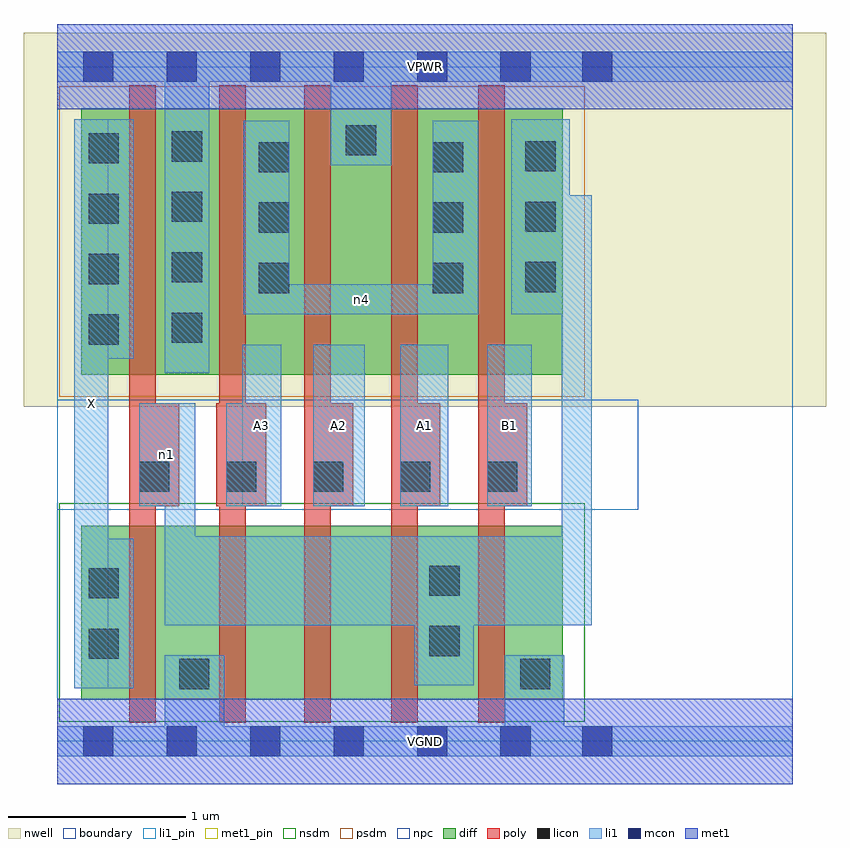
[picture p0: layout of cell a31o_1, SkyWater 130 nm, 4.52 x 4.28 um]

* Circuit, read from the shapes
.subckt a31o_1 A1 A2 A3 B1 VGND VPWR X n1 n4
XM1 VGND n1 X VSUBS sky130_fd_pr__nfet_01v8 w=0.98 l=0.15
XM2 n2 A3 VGND VSUBS sky130_fd_pr__nfet_01v8 w=0.98 l=0.15
XM3 n3 A2 n2 VSUBS sky130_fd_pr__nfet_01v8 w=0.98 l=0.15
XM4 n1 A1 n3 VSUBS sky130_fd_pr__nfet_01v8 w=0.98 l=0.15
XM5 VGND B1 n1 VSUBS sky130_fd_pr__nfet_01v8 w=0.98 l=0.15
XM6 VPWR n1 X n5 sky130_fd_pr__pfet_01v8 w=1.5 l=0.15
XM7 n4 A3 VPWR n5 sky130_fd_pr__pfet_01v8 w=1.5 l=0.15
XM8 VPWR A2 n4 n5 sky130_fd_pr__pfet_01v8 w=1.5 l=0.15
XM9 n4 A1 VPWR n5 sky130_fd_pr__pfet_01v8 w=1.5 l=0.15
XM10 n1 B1 n4 n5 sky130_fd_pr__pfet_01v8 w=1.5 l=0.15
.ends

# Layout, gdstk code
import gdstk
lib = gdstk.Library(unit=1e-6, precision=1e-09)
def R(c, l, rs):  # rectangles x0, y0, x1, y1
    for r in rs: c.add(gdstk.rectangle(r[:2], r[2:], *l))
def A(c, l, x, y, w, h, nx, ny, dx, dy):  # array of equal rectangles
    R(c, l, [(x+i*dx, y+j*dy, x+i*dx+w, y+j*dy+h) for i in range(nx) for j in range(ny)])
nwell = (64, 20)
diff = (65, 20)
poly = (66, 20)
licon = (66, 44)
li1_pin = (67, 16)
li1 = (67, 20)
mcon = (67, 44)
met1_pin = (68, 16)
met1 = (68, 20)
nsdm = (93, 44)
psdm = (94, 20)
npc = (95, 20)
boundary = (235, 4)

a31o_1 = lib.new_cell('a31o_1')
R(a31o_1, nwell, [(-0.19,1.885,4.33,3.99), (0,1.885,4.14,3.99)])
R(a31o_1, diff, [(0.135,0.235,2.845,1.215), (0.135,2.065,2.845,3.565)])
A(a31o_1, poly, 1.39, 0.105, 0.15, 3.59, 3, 1, 0.49, 0)
A(a31o_1, poly, 1.39, 1.325, 0.275, 0.58, 3, 1, 0.49, 0)
R(a31o_1, poly, [(0.405,0.105,0.555,3.695), (0.91,0.105,1.06,3.695), (0.405,1.325,0.685,1.905), (0.895,1.325,1.175,1.905)])
A(a31o_1, licon, 0.46, 1.405, 0.17, 0.17, 5, 1, 0.49, 0)
A(a31o_1, licon, 0.175, 2.235, 0.17, 0.17, 1, 4, 0, 0.34)
A(a31o_1, licon, 0.645, 2.245, 0.17, 0.17, 1, 4, 0, 0.34)
A(a31o_1, licon, 1.135, 2.525, 0.17, 0.17, 1, 3, 0, 0.34)
A(a31o_1, licon, 2.115, 2.525, 0.17, 0.17, 1, 3, 0, 0.34)
A(a31o_1, licon, 2.635, 2.53, 0.17, 0.17, 1, 3, 0, 0.34)
R(a31o_1, licon, [(0.685,0.295,0.855,0.465), (2.605,0.295,2.775,0.465), (0.175,0.465,0.345,0.635), (2.095,0.48,2.265,0.65), (0.175,0.805,0.345,0.975), (2.095,0.82,2.265,0.99), (1.625,3.3,1.795,3.47)])
R(a31o_1, li1_pin, [(0.095,0.3,0.285,3.505), (1.04,1.325,1.26,2.235), (1.44,1.325,1.73,2.235), (1.93,1.325,2.2,2.235), (2.42,1.325,2.67,2.235)])
R(a31o_1, li1, [(0,-0.085,4.14,0.085), (0.605,-0.085,0.94,0.485), (2.52,-0.085,2.855,0.485), (0.095,0.3,0.285,3.505), (0.095,0.3,0.43,1.14), (2.01,0.315,2.345,1.155), (0.605,0.655,3.01,1.155), (0.605,0.655,0.775,1.905), (2.84,0.655,3.01,3.075), (0.46,1.325,0.775,1.905), (0.95,1.325,1.26,1.905), (1.04,1.325,1.26,2.235), (1.44,1.325,1.73,2.235), (1.93,1.325,2.2,2.235), (2.42,1.325,2.67,2.235), (0.605,2.075,0.855,3.885), (0.095,2.155,0.43,3.505), (1.05,2.405,2.37,2.575), (1.05,2.405,1.305,3.495), (2.115,2.405,2.37,3.495), (2.555,2.405,2.885,3.505), (1.54,3.245,1.88,3.885), (0,3.715,4.14,3.885)])
A(a31o_1, mcon, 0.145, -0.085, 0.17, 0.17, 6, 2, 0.47, 3.8)
R(a31o_1, mcon, [(2.955,-0.085,3.125,0.085), (2.955,3.715,3.125,3.885)])
R(a31o_1, met1_pin, [(0,-0.24,4.14,0.24), (0,3.56,4.14,4.04)])
R(a31o_1, met1, [(0,-0.24,4.14,0.24), (0,3.56,4.14,4.04)])
R(a31o_1, nsdm, [(0.01,0.11,2.97,1.34)])
R(a31o_1, psdm, [(0.01,1.94,2.97,3.69)])
R(a31o_1, npc, [(0,1.305,3.27,1.925)])
R(a31o_1, boundary, [(0,0,4.14,3.8)])
a31o_1.add(gdstk.Label('A1', (2.065,1.78), layer=67, texttype=5))
a31o_1.add(gdstk.Label('A2', (1.585,1.78), layer=67, texttype=5))
a31o_1.add(gdstk.Label('A3', (1.15,1.78), layer=67, texttype=5))
a31o_1.add(gdstk.Label('B1', (2.545,1.78), layer=67, texttype=5))
a31o_1.add(gdstk.Label('X', (0.19,1.902), layer=67, texttype=5))
a31o_1.add(gdstk.Label('n4', (1.71,2.49), layer=67, texttype=5))
a31o_1.add(gdstk.Label('n1', (0.617,1.615), layer=67, texttype=5))
a31o_1.add(gdstk.Label('VPWR', (2.07,3.8), layer=68, texttype=5))
a31o_1.add(gdstk.Label('VGND', (2.07,0), layer=68, texttype=5))
a31o_1.add(gdstk.Label('A1', (2.065,1.78), layer=67, texttype=16))
a31o_1.add(gdstk.Label('A2', (1.585,1.78), layer=67, texttype=16))
a31o_1.add(gdstk.Label('A3', (1.15,1.78), layer=67, texttype=16))
a31o_1.add(gdstk.Label('B1', (2.545,1.78), layer=67, texttype=16))
a31o_1.add(gdstk.Label('X', (0.19,1.902), layer=67, texttype=16))
a31o_1.add(gdstk.Label('VPWR', (2.07,3.8), layer=68, texttype=16))
a31o_1.add(gdstk.Label('VGND', (2.07,0), layer=68, texttype=16))

lib.write_gds('a31o_1.gds')
